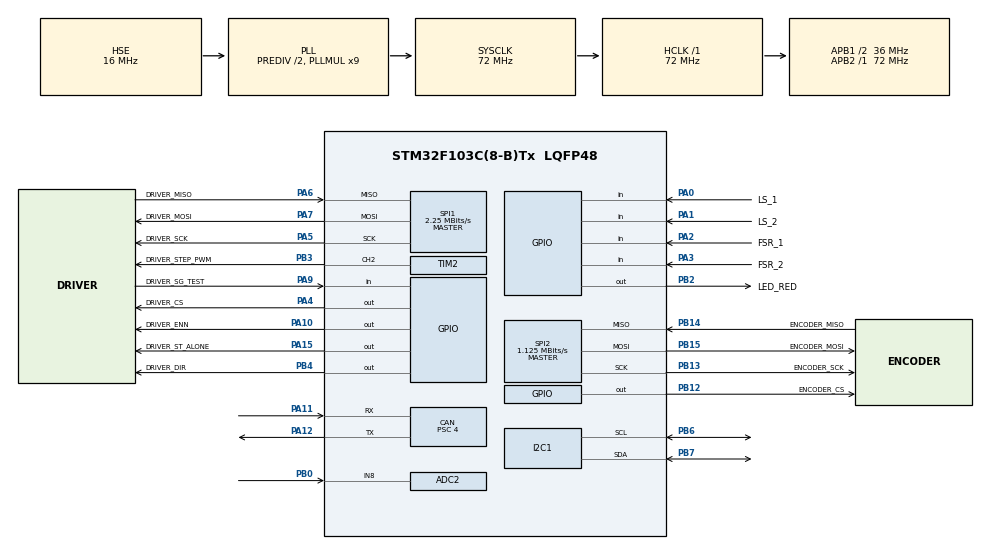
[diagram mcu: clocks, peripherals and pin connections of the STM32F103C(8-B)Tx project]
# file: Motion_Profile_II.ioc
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ADC2.ContinuousConvMode=DISABLE
ADC2.EnableRegularConversion=DISABLE
CAN.BS1=CAN_BS1_15TQ
CAN.BS2=CAN_BS2_2TQ
CAN.CalculateBaudRate=500000
CAN.CalculateTimeBit=2000
CAN.CalculateTimeQuantum=111.11111111111111
CAN.Mode=CAN_MODE_NORMAL
CAN.NART=ENABLE
CAN.Prescaler=4
CAN.SJW=CAN_SJW_2TQ
Dma.Request0=TIM2_CH2/CH4
Dma.TIM2_CH2/CH4.0.Direction=DMA_PERIPH_TO_MEMORY
Dma.TIM2_CH2/CH4.0.Instance=DMA1_Channel7
Dma.TIM2_CH2/CH4.0.MemDataAlignment=DMA_MDATAALIGN_HALFWORD
Dma.TIM2_CH2/CH4.0.MemInc=DMA_MINC_ENABLE
Dma.TIM2_CH2/CH4.0.Mode=DMA_NORMAL
Dma.TIM2_CH2/CH4.0.PeriphDataAlignment=DMA_PDATAALIGN_HALFWORD
Dma.TIM2_CH2/CH4.0.PeriphInc=DMA_PINC_DISABLE
Dma.TIM2_CH2/CH4.0.Priority=DMA_PRIORITY_LOW
Mcu.Family=STM32F1
Mcu.Name=STM32F103C(8-B)Tx
Mcu.Package=LQFP48
NVIC.DMA1_Channel7_IRQn=true\:0\:0\:false\:false\:true\:false\:true\:true
NVIC.PriorityGroup=NVIC_PRIORITYGROUP_4
NVIC.USB_LP_CAN1_RX0_IRQn=true\:2\:0\:true\:false\:true\:true\:true\:true
PA0-WKUP.GPIO_Label=LS_1
PA0-WKUP.Signal=GPIO_Input
PA1.GPIO_Label=LS_2
PA1.Signal=GPIO_Input
PA10.GPIO_Label=DRIVER_ENN
PA10.Signal=GPIO_Output
PA11.Mode=CAN_Activate
PA11.Signal=CAN_RX
PA12.Mode=CAN_Activate
PA12.Signal=CAN_TX
PA13.Mode=Serial_Wire
PA13.Signal=SYS_JTMS-SWDIO
PA14.Mode=Serial_Wire
PA14.Signal=SYS_JTCK-SWCLK
PA15.GPIO_Label=DRIVER_ST_ALONE
PA15.Signal=GPIO_Output
PA2.GPIO_Label=FSR_1
PA2.Signal=GPIO_Input
PA3.GPIO_Label=FSR_2
PA3.Signal=GPIO_Input
PA4.GPIO_Label=DRIVER_CS
PA4.Signal=GPIO_Output
PA5.GPIO_Label=DRIVER_SCK
PA5.Mode=Full_Duplex_Master
PA5.Signal=SPI1_SCK
PA6.GPIO_Label=DRIVER_MISO
PA6.Mode=Full_Duplex_Master
PA6.Signal=SPI1_MISO
PA7.GPIO_Label=DRIVER_MOSI
PA7.Mode=Full_Duplex_Master
PA7.Signal=SPI1_MOSI
PA9.GPIO_Label=DRIVER_SG_TEST
PA9.Signal=GPIO_Input
PB0.Signal=ADCx_IN8
PB12.GPIO_Label=ENCODER_CS
PB12.Signal=GPIO_Output
PB13.GPIO_Label=ENCODER_SCK
PB13.Mode=Full_Duplex_Master
PB13.Signal=SPI2_SCK
PB14.GPIO_Label=ENCODER_MISO
PB14.Mode=Full_Duplex_Master
PB14.Signal=SPI2_MISO
PB15.GPIO_Label=ENCODER_MOSI
PB15.Mode=Full_Duplex_Master
PB15.Signal=SPI2_MOSI
PB2.GPIO_Label=LED_RED
PB2.Signal=GPIO_Output
PB3.GPIO_Label=DRIVER_STEP_PWM
PB3.Signal=S_TIM2_CH2
PB4.GPIO_Label=DRIVER_DIR
PB4.Signal=GPIO_Output
PB6.Mode=I2C
PB6.Signal=I2C1_SCL
PB7.Mode=I2C
PB7.Signal=I2C1_SDA
PD0-OSC_IN.Mode=HSE-External-Oscillator
PD0-OSC_IN.Signal=RCC_OSC_IN
PD1-OSC_OUT.Mode=HSE-External-Oscillator
PD1-OSC_OUT.Signal=RCC_OSC_OUT
ProjectManager.HeapSize=0x200
ProjectManager.StackSize=0x400
ProjectManager.TargetToolchain=STM32CubeIDE
RCC.ADCPresc=RCC_ADCPCLK2_DIV6
RCC.AHBFreq_Value=72000000
RCC.APB1CLKDivider=RCC_HCLK_DIV2
RCC.APB1Freq_Value=36000000
RCC.APB1TimFreq_Value=72000000
RCC.APB2Freq_Value=72000000
RCC.APB2TimFreq_Value=72000000
RCC.HCLKFreq_Value=72000000
RCC.HSEDivPLL=RCC_HSE_PREDIV_DIV2
RCC.HSE_VALUE=16000000
RCC.PLLMUL=RCC_PLL_MUL9
RCC.PLLSourceVirtual=RCC_PLLSOURCE_HSE
RCC.SYSCLKFreq_VALUE=72000000
RCC.SYSCLKSource=RCC_SYSCLKSOURCE_PLLCLK
RCC.USBFreq_Value=72000000
SH.ADCx_IN8.0=ADC2_IN8,IN8
SH.S_TIM2_CH2.0=TIM2_CH2,PWM Generation2 CH2
SPI1.BaudRatePrescaler=SPI_BAUDRATEPRESCALER_32
SPI1.CLKPhase=SPI_PHASE_2EDGE
SPI1.CLKPolarity=SPI_POLARITY_HIGH
SPI1.CalculateBaudRate=2.25 MBits/s
SPI1.Direction=SPI_DIRECTION_2LINES
SPI1.Mode=SPI_MODE_MASTER
SPI1.VirtualType=VM_MASTER
SPI2.BaudRatePrescaler=SPI_BAUDRATEPRESCALER_32
SPI2.CLKPhase=SPI_PHASE_2EDGE
SPI2.CalculateBaudRate=1.125 MBits/s
SPI2.Direction=SPI_DIRECTION_2LINES
SPI2.Mode=SPI_MODE_MASTER
SPI2.VirtualType=VM_MASTER
TIM2.AutoReloadPreload=TIM_AUTORELOAD_PRELOAD_ENABLE
TIM2.Channel-PWM\ Generation2\ CH2=TIM_CHANNEL_2
TIM2.OCMode_PWM-PWM\ Generation2\ CH2=TIM_OCMODE_PWM2
TIM2.Period=100-1
TIM2.Prescaler=720-1
VP_TIM2_VS_ClockSourceINT.Mode=Internal
board=custom

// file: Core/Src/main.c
/* USER CODE BEGIN Header */
/**
 ******************************************************************************
 * @file           : main.c
 * @brief          : Motion Profile Testbench
 ******************************************************************************
 */
/* USER CODE END Header */
#include "main.h"
#include "adc.h"
#include "can.h"
#include "dma.h"
#include "i2c.h"
#include "spi.h"
#include "tim.h"
#include "gpio.h"

/* USER CODE BEGIN Includes */
#include "tmc_2590.h"
#include "queue.h"
#include "enc_dec_utils.h"
#include "motion.h"
#include <math.h>
/* USER CODE END Includes */

/* USER CODE BEGIN PD */
// Kept for CAN and internal driver references
#define MOTOR_GEARING 1
#define STEPS_PER_REVOLUTION 200
/* USER CODE END PD */

/* USER CODE BEGIN PV */
RAD_STATUS_TypeDef rad_status;
RAD_PARAMS_TypeDef rad_params;

uint8_t ESTOP = 0;
uint8_t DISABLED = 0;

uint32_t profile_start_time = 0;
uint32_t prev_ms = 0;

uint16_t odom_counter = 0;
uint16_t idle_counter = 0;

uint8_t led_on = 0;
uint16_t current_target_speed = 0;
uint32_t last_speed_update = 0;

int32_t steps_to_move;

void MOTION_PROFILE_Set_Speed(uint16_t velocity);

/* USER CODE END PV */

void SystemClock_Config(void);

int main(void)
{

  /* USER CODE BEGIN 1 */

    // SET DEFAULT VALUES (Stripped of PID/EEPROM defaults)
    rad_params.RAD_ID = 0xF0;
    rad_params.RAD_TYPE = RAD_TYPE_UNDEFINED;
    rad_params.STEPPER_SPEED = 1000;
    rad_params.ODOM_INTERVAL = 100; // 50hz, or 20ms
    rad_params.HEALTH_INTERVAL = 1000; // every second

    rad_params.CHOPCONF_CHM = 0b0;
    rad_params.CHOPCONF_HDEC = 0b00;
    rad_params.CHOPCONF_HEND = 0b0100;
    rad_params.CHOPCONF_HSTRT = 0b110;
    rad_params.CHOPCONF_RNDTF = 0b0;
    rad_params.CHOPCONF_TBL = 0b10;
    rad_params.CHOPCONF_TOFF = 0b100;

    rad_params.DRVCONF_DIS_S2G = 0b0;
    rad_params.DRVCONF_EN_PFD = 0b1;
    rad_params.DRVCONF_EN_S2VS = 0b1;
    rad_params.DRVCONF_OTSENS = 0b0;
    rad_params.DRVCONF_RDSEL = 0b11;
    rad_params.DRVCONF_SDOFF = 0b0;
    rad_params.DRVCONF_SHRTSENS = 0b1;
    rad_params.DRVCONF_SLP = 0b11110;
    rad_params.DRVCONF_TS2G = 0b00;
    rad_params.DRVCONF_TST = 0b0;
    rad_params.DRVCONF_VSENSE = 0b0;

    rad_params.DRVCTRL_DEDGE = 0b0;
    rad_params.DRVCTRL_INTPOL = 0b1;
    rad_params.DRVCTRL_MRES = 0b1000; // 0b1000

    rad_params.SGCSCONF_CS = 5;
    rad_params.SGCSCONF_SFILT = 0b0;
    rad_params.SGCSCONF_SGT = 0b0000010;

    rad_params.SMARTEN_SEDN = 0b00;
    rad_params.SMARTEN_SEIMIN = 0b0;
    rad_params.SMARTEN_SEMAX = 0b0000;
    rad_params.SMARTEN_SEMIN = 0b0000;
    rad_params.SMARTEN_SEUP = 0b00;

    rad_params.SW_STOP_ENABLED = 0;
    rad_params.WATCH_DOG_ENABLED = 0;
    rad_params.MOTION_PROFILE_ENABLED = 0;

  /* USER CODE END 1 */

  /* MCU Configuration--------------------------------------------------------*/

  /* Reset of all peripherals, Initializes the Flash interface and the Systick. */
  HAL_Init();

  /* Configure the system clock */
  SystemClock_Config();

  /* Initialize all configured peripherals */
  MX_GPIO_Init();
  MX_DMA_Init();
  MX_CAN_Init();
  MX_I2C1_Init();
  MX_SPI1_Init();
  MX_SPI2_Init();
  MX_TIM2_Init();
  MX_ADC2_Init();
  /* USER CODE BEGIN 2 */

    rad_status.flags = (rad_params.SW_STOP_ENABLED) | (rad_params.WATCH_DOG_ENABLED);

    // Initialize only the required drivers for the testbench
    MX_TMC_2590_1_Init();
    MX_PROFILER_INIT();

    // Default TMC Settings (Kept from your original init)
    tmc_2590_1.Init.inverted = 0;

    MX_CAN_UpdateIdAndFilters(&rad_can);

    uint32_t arr = HAL_TIM_CalculateAutoReload(tmc_2590_1.Init.STEP_Tim, rad_params.STEPPER_SPEED);
    TMC_2590_SetTimAutoReload(&tmc_2590_1, arr);

    MX_CAN_Broadcast_Health_Message(&rad_can, rad_status);

  /* USER CODE END 2 */

  /* Infinite loop */
  /* USER CODE BEGIN WHILE */

  // TODO YOUR TRASH THIS IS WRONG - THIS IS SO WRONG WITH RAD STATE
    // THIS IS ACTUALLY FINE

    static enum
    {
        RAD_STATE_INIT = 0,
        RAD_STATE_IDLE,
        RAD_STATE_PROFILE_CONTROL,
		RAD_STATE_PULSE_CONTROL
    } rad_state = RAD_STATE_INIT;

    while (1)
    {
        // ------------------------------------------------------
        // 1. GLOBAL CAN MESSAGES
        // ------------------------------------------------------
        if (!queue_empty(&can_message_queue_global))
        {
            RAD_CAN_Message_TypeDef *new_message = (RAD_CAN_Message_TypeDef*) queue_front(&can_message_queue_global);

            switch ((int)(new_message->command_id))
            {
                case ESTOP_MESSAGE:
                    ESTOP = 1;
                    break;
                case DISABLE_MESSAGE:
                    DISABLED = 1;
                    break;
                case ENABLE_MESSAGE:
                    rad_state = RAD_STATE_IDLE;
                    DISABLED = 0;
                    ESTOP = 0;
                    break;
                case HEALTH_STATUS_PING:
                    MX_CAN_Broadcast_Health_Message(&rad_can, rad_status);
                    break;
                default:
                    break;
            }

            free(new_message->data);
            queue_dequeue(&can_message_queue_global);
        }
        // ------------------------------------------------------
        // 2. RAD CAN MESSAGES (Stripped of PID/EEPROM)
        // ------------------------------------------------------
        else if (!queue_empty(&can_message_queue_rad))
        {
            RAD_CAN_Message_TypeDef *new_message = (RAD_CAN_Message_TypeDef*) queue_front(&can_message_queue_rad);

            switch ((int)(new_message->command_id))
            {
                case PULSE_STEPPER:
                {

                    // REVIEW THIS
                    float pulses = decode_float_big_endian(new_message->data);

                    // Case profile enabled

                    if (rad_params.MOTION_PROFILE_ENABLED) {

						int32_t target_steps = (int32_t)(pulses * 4.0f);

						// Cap steps using TMC driver limits
						if (target_steps > tmc_2590_1.Init.max_steps)
							target_steps = tmc_2590_1.Init.max_steps;
						else if (target_steps < -1*(tmc_2590_1.Init.max_steps))
							target_steps = -1*tmc_2590_1.Init.max_steps;

						// Setup the Math Profile
						motion_profile.STEPS_TO_MOVE = target_steps;
						motion_profile.CURRENT_POS = 0;
						motion_profile.SET_POINT = target_steps;
						Motion_Profile_Phases(&motion_profile);

						// Setting up initial speeds

						uint16_t starting_speed = (uint16_t)fabsf(motion_profile.V_I);
						if (starting_speed < 20) {
							starting_speed = 20;
						}
						current_target_speed = starting_speed;

						// Setup the Hardware (Using your existing wrapper)
						if (TMC_2590_CheckState(&tmc_2590_1) == TMC_2590_BUSY) {
							TMC_2590_Stop(&tmc_2590_1);
						}
						rad_status.TMC_STATUS = TMC_2590_MoveSteps(&tmc_2590_1, target_steps);

						// Start the clock and enter profiling state
						profile_start_time = HAL_GetTick();
						last_speed_update = profile_start_time;

						rad_state = RAD_STATE_PROFILE_CONTROL;

					// Case no profile
                    } else {

                    	steps_to_move = (int32_t)pulses;

                    	// cap steps

                    	if (steps_to_move > tmc_2590_1.Init.max_steps) {
                    		steps_to_move = tmc_2590_1.Init.max_steps;
                    	} else if (steps_to_move <-1*tmc_2590_1.Init.max_steps) {
                    		steps_to_move = -1*tmc_2590_1.Init.max_steps;
                    	}

                    	rad_state = RAD_STATE_PULSE_CONTROL;
                    	MOTION_PROFILE_Set_Speed(rad_params.STEPPER_SPEED);
                    }

                    break;
                }
                case SET_STEPPER_SPEED:
                {
                    uint32_t arr = HAL_TIM_CalculateAutoReload(tmc_2590_1.Init.STEP_Tim, decode_uint32_big_endian(new_message->data));
                    TMC_2590_SetTimAutoReload(&tmc_2590_1, arr);
                    rad_params.STEPPER_SPEED = HAL_TIM_CalculateFrequency(tmc_2590_1.Init.STEP_Tim);
                    break;
                }
                case GET_STEPPER_SPEED:
                    MX_CAN_Broadcast_Uint32_Data(&rad_can, rad_params.STEPPER_SPEED, GET_STEPPER_SPEED);
                    break;

                case SET_RAD_FLAGS:
                {
                	uint8_t flags = new_message->data[0];
                	rad_params.SW_STOP_ENABLED = flags & (1 << 0);
                	rad_params.WATCH_DOG_ENABLED = flags & (1 << 1);
                	rad_params.MOTION_PROFILE_ENABLED = flags & (1 << 2);

                	// Change params based on if motion profile is enabled

                	if (rad_params.MOTION_PROFILE_ENABLED) {
                		 rad_params.STEPPER_SPEED = 4000;  // todo fix hardcode, rn just * 4
                		 rad_params.DRVCTRL_MRES = 0b0110; // Microstepping
                		 tmc_2590_1.Init.max_steps = 4000;
                	} else {
                		rad_params.STEPPER_SPEED = 1000;
                		rad_params.DRVCTRL_MRES = 0b1000; // Microstepping
                		tmc_2590_1.Init.max_steps = 1000;
                	}

                	// Would happen in both cases
                	tmc_2590_1.ConfRegisters.DRVCTRL.mres = rad_params.DRVCTRL_MRES;
                	TMC_2590_WriteConfRegisters(&tmc_2590_1);

                	rad_status.flags = (rad_params.SW_STOP_ENABLED) | (rad_params.WATCH_DOG_ENABLED) | (rad_params.MOTION_PROFILE_ENABLED);
                	break;
                }
                case GET_RAD_FLAGS:
                	MX_CAN_Broadcast_Uint8_Data(&rad_can, rad_status.flags, GET_RAD_FLAGS);
                	break;

                case REBOOT:
                	HAL_NVIC_SystemReset();
                    break;
                case ASSIGN_DEVICE_ID:
                    rad_can.id = new_message->data[0];
                    rad_params.RAD_ID = rad_can.id;
                    MX_CAN_UpdateIdAndFilters(&rad_can);
                    break;

                case SET_VMAX:
                    motion_profile.V_MAX = decode_float_big_endian(new_message->data) * 4.0f;
                    break;

                case GET_VMAX:
                    MX_CAN_Broadcast_Float_Data(&rad_can, motion_profile.V_MAX, GET_VMAX);
                    break;

                case SET_ACCELERATION:
                    float new_accel = decode_float_big_endian(new_message->data) * 4.0f;
                    if (new_accel > 0.0f) {
                        // Invalid acceleration value, ignore the command
                    	motion_profile.ACCELERATION = new_accel;
                    }
                    break;

                case GET_ACCELERATION:
                    MX_CAN_Broadcast_Float_Data(&rad_can, motion_profile.ACCELERATION, GET_ACCELERATION);
                    break;

                case SET_STEPS_TO_MOVE:
                    motion_profile.STEPS_TO_MOVE = decode_int32_big_endian(new_message->data) * 4;
                    break;

                case GET_STEPS_TO_MOVE:
                    MX_CAN_Broadcast_Int32_Data(&rad_can, motion_profile.STEPS_TO_MOVE, GET_STEPS_TO_MOVE);
                    break;

                // (Omitted the extensive TMC SPI tuning cases for brevity, but they can remain here untouched if needed for live testing)
                default:
                    break;
            }
            free(new_message->data);
            queue_dequeue(&can_message_queue_rad);
        }

        // ------------------------------------------------------
        // 3. SAFETY CHECKS
        // ------------------------------------------------------
        if (ESTOP || DISABLED)
        {
        	HAL_GPIO_WritePin(LED_RED_GPIO_Port, LED_RED_Pin, GPIO_PIN_SET);
            TMC_2590_Stop(&tmc_2590_1);
            if (ESTOP) break;
            else continue;
        }
        else
        {
        	HAL_GPIO_WritePin(LED_RED_GPIO_Port, LED_RED_Pin, GPIO_PIN_RESET);
        }

        // ------------------------------------------------------
        // 4. MAIN STATE MACHINE
        // ------------------------------------------------------
        switch (rad_state)
        {
            case RAD_STATE_INIT:
                rad_state = RAD_STATE_IDLE;
                break;

            case RAD_STATE_IDLE:
                // Motor is stationary, waiting for PULSE_STEPPER
            	idle_counter++;
                break;

            case RAD_STATE_PROFILE_CONTROL:

            // REVIEW THIS SOME MORE
            {
                // Calculate elapsed time in seconds TODO
                motion_profile.TIME_ELAPSED = (float)(HAL_GetTick() - profile_start_time) / 1000.0f;

                // Get target velocity for this exact millisecond
                Motion_Profile_StateTypeDef prof_state = Motion_Profile_Velocity(&motion_profile);

                if (prof_state == MOTION_PROFILE_STATE_BUSY)
                {
                    uint16_t target_speed = (uint16_t)fabsf(motion_profile.VELOCITY);

                    if (HAL_GetTick() - last_speed_update >= 50) {

                    	last_speed_update = HAL_GetTick();

                    	if ((target_speed != current_target_speed) && (target_speed>0)) {
							MOTION_PROFILE_Set_Speed(target_speed);
							current_target_speed = target_speed;
                    	}
                    }

//                    if (target_speed > 0) {
//                        // Dynamically adjust the timer ARR while MoveSteps runs in the background
//                        MOTION_PROFILE_Set_Speed(target_speed);
//                    }
//                    MOTION_PROFILE_Set_Speed(500);
                }
                else if (prof_state == MOTION_PROFILE_STATE_DONE)
                {

                	if (TMC_2590_CheckState(&tmc_2590_1) != TMC_2590_BUSY) {
                		// Math confirms profile is complete
						TMC_2590_Stop(&tmc_2590_1);
						MX_PROFILER_RESET();
						MOTION_PROFILE_Set_Speed(rad_params.STEPPER_SPEED);
						rad_state = RAD_STATE_IDLE;
						//last_speed_update = 0;
                	}
                }
                break;
            }

            case RAD_STATE_PULSE_CONTROL:

            	if (TMC_2590_CheckState(&tmc_2590_1) == TMC_2590_BUSY) {
            		TMC_2590_Stop(&tmc_2590_1);
            	}

            	rad_status.TMC_STATUS = TMC_2590_MoveSteps(&tmc_2590_1, steps_to_move);
            	rad_state = RAD_STATE_IDLE;
            	break;

            default:
                rad_state = RAD_STATE_INIT;
                break;
        }

        // ------------------------------------------------------
        // 5. TELEMETRY / GRAPHING
        // ------------------------------------------------------
        if ((rad_params.ODOM_INTERVAL != 0) && (HAL_GetTick() % rad_params.ODOM_INTERVAL == 0))
        {
            // Transmit the real-time calculated velocity over CAN for your SSH graph.

            // Send the velocity properly, not the garbage you were doing before

        	if (!led_on) {
        		HAL_GPIO_WritePin(LED_RED_GPIO_Port, LED_RED_Pin, GPIO_PIN_SET);
        		led_on = 1;
        	} else {
        		HAL_GPIO_WritePin(LED_RED_GPIO_Port, LED_RED_Pin, GPIO_PIN_RESET);
        		led_on = 0;
        	}

//            if (rad_state == RAD_STATE_PROFILE_CONTROL) {
//
//                MX_CAN_Broadcast_Float_Data(&rad_can, motion_profile.VELOCITY, SEND_VELOCITY);
//
//            }

            // TODO: There may be some issues here with dropping frames if we are putting these too close together

            odom_counter++;
//            MX_CAN_Broadcast_Odometry_Message(&rad_can, rad_status);

//            MX_CAN_Broadcast_Uint8_Data(&rad_can, 1, SEND_VELOCITY);
        }

        if ((rad_params.HEALTH_INTERVAL != 0) && (HAL_GetTick() % rad_params.HEALTH_INTERVAL == 0))
        {
            rad_status.RAD_STATE = rad_state;
            rad_status.TMC_STATUS = TMC_2590_CheckState(&tmc_2590_1);
            MX_CAN_Broadcast_Health_Message(&rad_can, rad_status);
        }

        rad_can.timer += HAL_GetTick() - prev_ms;
        prev_ms = HAL_GetTick();

    /* USER CODE END WHILE */

    }
}

void SystemClock_Config(void)
{
  RCC_OscInitTypeDef RCC_OscInitStruct = {0};
  RCC_ClkInitTypeDef RCC_ClkInitStruct = {0};
  RCC_PeriphCLKInitTypeDef PeriphClkInit = {0};

  /** Initializes the RCC Oscillators according to the specified parameters
  * in the RCC_OscInitTypeDef structure.
  */
  RCC_OscInitStruct.OscillatorType = RCC_OSCILLATORTYPE_HSE;
  RCC_OscInitStruct.HSEState = RCC_HSE_ON;
  RCC_OscInitStruct.HSEPredivValue = RCC_HSE_PREDIV_DIV2;
  RCC_OscInitStruct.HSIState = RCC_HSI_ON;
  RCC_OscInitStruct.PLL.PLLState = RCC_PLL_ON;
  RCC_OscInitStruct.PLL.PLLSource = RCC_PLLSOURCE_HSE;
  RCC_OscInitStruct.PLL.PLLMUL = RCC_PLL_MUL9;
  if (HAL_RCC_OscConfig(&RCC_OscInitStruct) != HAL_OK)
  {
    Error_Handler();
  }

  /** Initializes the CPU, AHB and APB buses clocks
  */
  RCC_ClkInitStruct.ClockType = RCC_CLOCKTYPE_HCLK|RCC_CLOCKTYPE_SYSCLK
                              |RCC_CLOCKTYPE_PCLK1|RCC_CLOCKTYPE_PCLK2;
  RCC_ClkInitStruct.SYSCLKSource = RCC_SYSCLKSOURCE_PLLCLK;
  RCC_ClkInitStruct.AHBCLKDivider = RCC_SYSCLK_DIV1;
  RCC_ClkInitStruct.APB1CLKDivider = RCC_HCLK_DIV2;
  RCC_ClkInitStruct.APB2CLKDivider = RCC_HCLK_DIV1;

  if (HAL_RCC_ClockConfig(&RCC_ClkInitStruct, FLASH_LATENCY_2) != HAL_OK)
  {
    Error_Handler();
  }
  PeriphClkInit.PeriphClockSelection = RCC_PERIPHCLK_ADC;
  PeriphClkInit.AdcClockSelection = RCC_ADCPCLK2_DIV6;
  if (HAL_RCCEx_PeriphCLKConfig(&PeriphClkInit) != HAL_OK)
  {
    Error_Handler();
  }
}

/* USER CODE BEGIN 4 */
void HAL_TIM_PWM_PulseFinishedCallback(TIM_HandleTypeDef *htim)
{
    TMC_2590_TIM_PWM_PulseFinishedCallback(&tmc_2590_1, htim);
}

void MOTION_PROFILE_Set_Speed(uint16_t velocity) {

    // Guard against divide-by-zero if velocity drops to 0 and low speeds preventing issues
    if (velocity < 5) {
        return;
    }

	// Calculate ARR from inputted desired freq
	uint32_t arr = HAL_TIM_CalculateAutoReload(tmc_2590_1.Init.STEP_Tim, velocity);

	// limit ARR value to prevent overflow

	if (arr > 65535) {
		arr = 65535;
	}

	if (arr < 2) {
		arr = 2;
	}

	// Assign ARR to timer hardware
	TMC_2590_SetTimAutoReload(&tmc_2590_1, arr);

	// Update duty cycle (CCR) us9ing HAL macros to maintain 50%
//
	__HAL_TIM_SET_COMPARE(tmc_2590_1.Init.STEP_Tim, tmc_2590_1.Init.STEP_Channel, arr / 2);
//
//	// prevent timer lockup if the counter already overshot the new smaller ARR
//
	// if (__HAL_TIM_GET_COUNTER(tmc_2590_1.Init.STEP_Tim) > arr) {
	//         __HAL_TIM_SET_COUNTER(tmc_2590_1.Init.STEP_Tim, 0);
	// }

	// Update local stepper speed reference
	// rad_params.STEPPER_SPEED = HAL_TIM_CalculateFrequency(tmc_2590_1.Init.STEP_Tim);
}
/* USER CODE END 4 */

void Error_Handler(void)
{
    __disable_irq();
    while (1)
    {
    }
}
